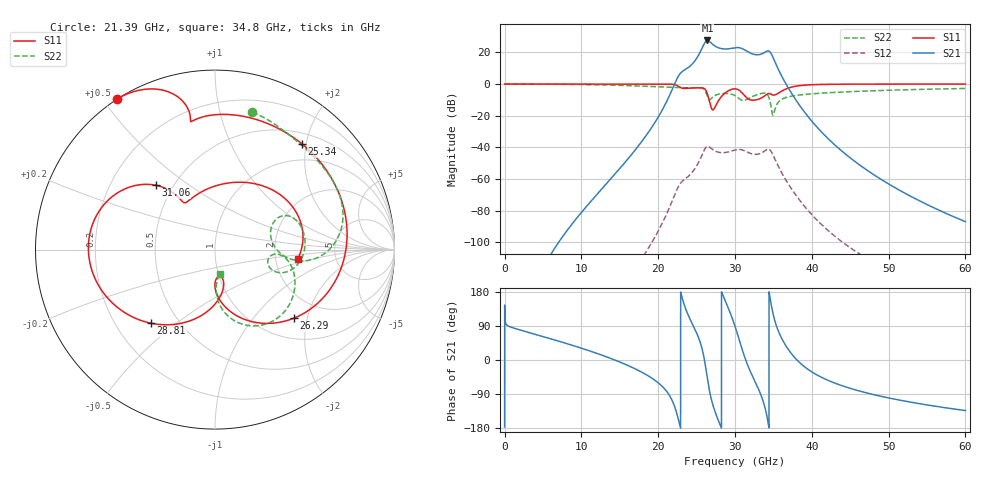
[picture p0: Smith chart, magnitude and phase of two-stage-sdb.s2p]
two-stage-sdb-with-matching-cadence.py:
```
import numpy as np
from skrf import Network
import matplotlib.pyplot as plt
import tikzplotlib
two_stage = Network('data/two-stage-sdb.s2p')
two_stage.frequency.unit = 'ghz'
fig, ax = plt.subplots(figsize=(8, 6))
two_stage.plot_s_db(0, 0, linewidth=2, color="red", label="S11")

#Plot s12
# a\\x.set_xlim(20e9, 40e9)
# ax.set_ylim(-100, -30)
# # plot for s21
# ax.plot(27.12e9, 25, marker='o', markersize=5, color='black')
# ax.annotate('(27.12GHz, 25dB)', xy=(27.12e9, 25), xytext=(24.12e9, 5), arrowprops=dict(arrowstyle='->'), fontsize=12)
# ax.plot(32.33e9, 18.96, marker='o', markersize=5, color='blue')
# ax.annotate('(32.33GHz, 18.96dB)', xy=(32.33e9, 18.96), xytext=(30.33e9, 5), arrowprops=dict(arrowstyle='->', color="blue"), fontsize=12, color="blue")


#plot for s11
#ax.plot(27.12e9, -16.38, marker='o', markersize=5, color='black')
#ax.plot(32.33e9, -10.22, marker='o', markersize=5, color='black')

# freq_val=27.12e9
# mag_val=-16.38

# arrow_end = (freq_val, mag_val)
# arrow_start = (30e9, -16.38)

# # Draw the arrow
# ax.annotate('(27.12GHz, -16.38dB)', xy=arrow_end, xytext=arrow_start, arrowprops=dict(arrowstyle='->'), fontsize=12)
# ax.annotate('(32.33GHz, -10.22dB)', xy=(32.33e9, -10.22), xytext=(36e9, -11), arrowprops=dict(arrowstyle='->'), fontsize=12)
# Denote the arrow coordinates
#ax.text(2.5, 3, f'({arrow_end[0]}, {arrow_end[1]})')

#ax.text(28e9, -16.38, f'({freq_val:.2f}, {mag_val:.2f})', fontsize=12, color='red')
ax.grid(True)
#ax.set_xlim(10e9, 50e9)
ax.tick_params(axis='both', labelsize=12)
ax.set_xlabel("Frequency (GHz)", fontsize=15)
ax.set_ylabel("Magnitude (dB)", fontsize=15)
# #plt.legend().remove()
#plt.xlim(20e9, 40e9)
#plt.ylim(-100, -35)
#tikzplotlib.clean_figure()
#tikzplotlib.save("two_stage_sdb_withMatching_cadence_s11.tex")
#plt.savefig('two_stage_withMatching_s11.png', dpi=300)
plt.show()
```
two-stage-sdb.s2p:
! Touchstone Ver. 1.0
! Fri May  5 20:04:56 2023
! Number of ports is 2
# Hz	S	DB	R	50.000000
! SCATTERING PARAMETERS  :
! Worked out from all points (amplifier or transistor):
!   6000 points, 10 MHz to 60 GHz, reference 50 ohm
!   highest |S21| = 27.6 dB at 26.41 GHz (marker M1)
!   |S21| within 3 dB of that: 25.9 GHz to 27.24 GHz (1.335 GHz wide, 5.02 % of centre)
!   unconditionally stable (mu >= 1): 35.54 MHz to 7.02 GHz; 21.49 GHz to end of sweep
!   at 10.01 GHz: K = -1185215.09, MSG = 42.1 dB, |S12| = -165.4 dB
!   at 30.01 GHz: K = 1.94, MAG = 26.7 dB, |S12| = -41.6 dB
!   at 60 GHz: K = 25876847.14, MAG = -51.9 dB, |S12| = -137.8 dB
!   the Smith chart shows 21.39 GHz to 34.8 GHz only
!   S11 on the Smith chart (normalised r, x): 21.39 GHz: -0.00, +0.54; 25.34 GHz: 0.68, +1.92; 26.29 GHz: 1.43, -1.66; 28.81 GHz: 0.35, -0.41; 31.06 GHz: 0.40, +0.38; 34.8 GHz: 2.67, -0.37
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1e7  -0.00 180.0  -394.41 -176.8  -603.59 30.3  -0.00 180.0
2.139e10  0.01 122.9  -8.17 -90.9  -78.98 122.3  -2.00 74.8
2.534e10  -2.35 50.6  18.99 54.7  -48.74 -86.2  -2.39 27.4
2.629e10  -4.70 -41.1  27.37 -33.4  -39.68 -172.9  -6.09 -7.3
2.641e10  -6.20 -57.0  27.55 -49.4  -39.41 171.3  -7.74 -6.6
2.729e10  -15.56 -75.5  24.37 -129.3  -41.99 92.7  -7.50 26.5
2.881e10  -5.30 -131.0  22.15 153.0  -43.20 17.2  -5.96 5.8
3.001e10  -3.04 175.8  22.98 88.8  -41.61 -45.3  -7.33 -16.0
3.106e10  -6.25 132.6  22.12 20.0  -41.83 -112.5  -10.44 -11.5
3.48e10  -6.68 -6.7  18.44 137.4  -43.35 10.2  -17.23 -79.0
6e10  -0.00 -156.4  -86.97 -133.4  -137.83 132.0  -2.79 -107.1
